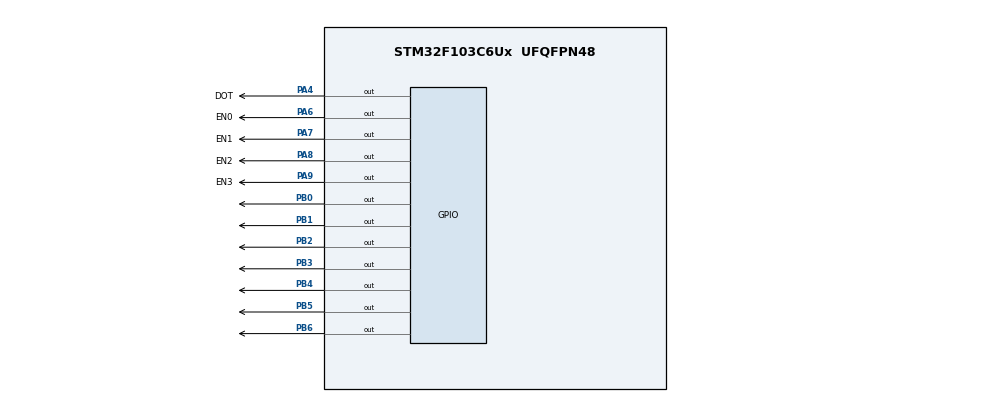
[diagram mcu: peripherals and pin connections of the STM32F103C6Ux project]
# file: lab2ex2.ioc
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Mcu.Family=STM32F1
Mcu.Name=STM32F103C6Ux
Mcu.Package=UFQFPN48
NVIC.PriorityGroup=NVIC_PRIORITYGROUP_4
NVIC.TIM2_IRQn=true\:0\:0\:false\:false\:true\:true\:true
PA4.GPIO_Label=DOT
PA4.Signal=GPIO_Output
PA6.GPIO_Label=EN0
PA6.Signal=GPIO_Output
PA7.GPIO_Label=EN1
PA7.Signal=GPIO_Output
PA8.GPIO_Label=EN2
PA8.Signal=GPIO_Output
PA9.GPIO_Label=EN3
PA9.Signal=GPIO_Output
PB0.Signal=GPIO_Output
PB1.Signal=GPIO_Output
PB2.Signal=GPIO_Output
PB3.Signal=GPIO_Output
PB4.Signal=GPIO_Output
PB5.Signal=GPIO_Output
PB6.Signal=GPIO_Output
ProjectManager.HeapSize=0x200
ProjectManager.StackSize=0x400
ProjectManager.TargetToolchain=STM32CubeIDE
RCC.APB1Freq_Value=8000000
RCC.APB2Freq_Value=8000000
TIM2.Period=9
TIM2.Prescaler=7999
VP_SYS_VS_ND.Mode=No_Debug
VP_TIM2_VS_ClockSourceINT.Mode=Internal
board=custom

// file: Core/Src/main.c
/* USER CODE BEGIN Header */
/**
 ******************************************************************************
 * @file           : main.c
 * @brief          : Main program body
 ******************************************************************************
 * @attention
 *
 * <h2><center>&copy; Copyright (c) 2026 STMicroelectronics.
 * All rights reserved.</center></h2>
 *
 * This software component is licensed by ST under BSD 3-Clause license,
 * the "License"; You may not use this file except in compliance with the
 * License. You may obtain a copy of the License at:
 *                        opensource.org/licenses/BSD-3-Clause
 *
 ******************************************************************************
 */
/* USER CODE END Header */
#include "main.h"

TIM_HandleTypeDef htim2;

void SystemClock_Config(void);
static void MX_GPIO_Init(void);
static void MX_TIM2_Init(void);

/* USER CODE BEGIN 0 */
void display7SEG(int num) {
  GPIO_PinState a = GPIO_PIN_SET;
  GPIO_PinState b = GPIO_PIN_SET;
  GPIO_PinState c = GPIO_PIN_SET;
  GPIO_PinState d = GPIO_PIN_SET;
  GPIO_PinState e = GPIO_PIN_SET;
  GPIO_PinState f = GPIO_PIN_SET;
  GPIO_PinState g = GPIO_PIN_SET;

  switch (num) {
  case 0:
    a = 0;
    b = 0;
    c = 0;
    d = 0;
    e = 0;
    f = 0;
    break;
  case 1:
    b = 0;
    c = 0;
    break;
  case 2:
    a = 0;
    b = 0;
    d = 0;
    e = 0;
    g = 0;
    break;
  case 3:
    a = 0;
    b = 0;
    c = 0;
    d = 0;
    g = 0;
    break;
  case 4:
    b = 0;
    c = 0;
    f = 0;
    g = 0;
    break;
  case 5:
    a = 0;
    c = 0;
    d = 0;
    f = 0;
    g = 0;
    break;
  case 6:
    a = 0;
    c = 0;
    d = 0;
    e = 0;
    f = 0;
    g = 0;
    break;
  case 7:
    a = 0;
    b = 0;
    c = 0;
    break;
  case 8:
    a = 0;
    b = 0;
    c = 0;
    d = 0;
    e = 0;
    f = 0;
    g = 0;
    break;
  case 9:
    a = 0;
    b = 0;
    c = 0;
    d = 0;
    f = 0;
    g = 0;
    break;
  }

  HAL_GPIO_WritePin(GPIOB, GPIO_PIN_0, a);
  HAL_GPIO_WritePin(GPIOB, GPIO_PIN_1, b);
  HAL_GPIO_WritePin(GPIOB, GPIO_PIN_2, c);
  HAL_GPIO_WritePin(GPIOB, GPIO_PIN_3, d);
  HAL_GPIO_WritePin(GPIOB, GPIO_PIN_4, e);
  HAL_GPIO_WritePin(GPIOB, GPIO_PIN_5, f);
  HAL_GPIO_WritePin(GPIOB, GPIO_PIN_6, g);
}
/* USER CODE END 0 */

int main(void) {

  /* MCU Configuration--------------------------------------------------------*/

  /* Reset of all peripherals, Initializes the Flash interface and the Systick.
   */
  HAL_Init();

  /* Configure the system clock */
  SystemClock_Config();

  /* Initialize all configured peripherals */
  MX_GPIO_Init();
  MX_TIM2_Init();
  /* USER CODE BEGIN 2 */
  HAL_TIM_Base_Start_IT(&htim2);
  /* USER CODE END 2 */

  /* Infinite loop */
  while (1) {

  }
}

void SystemClock_Config(void) {
  RCC_OscInitTypeDef RCC_OscInitStruct = {0};
  RCC_ClkInitTypeDef RCC_ClkInitStruct = {0};

  /** Initializes the RCC Oscillators according to the specified parameters
   * in the RCC_OscInitTypeDef structure.
   */
  RCC_OscInitStruct.OscillatorType = RCC_OSCILLATORTYPE_HSI;
  RCC_OscInitStruct.HSIState = RCC_HSI_ON;
  RCC_OscInitStruct.HSICalibrationValue = RCC_HSICALIBRATION_DEFAULT;
  RCC_OscInitStruct.PLL.PLLState = RCC_PLL_NONE;
  if (HAL_RCC_OscConfig(&RCC_OscInitStruct) != HAL_OK) {
    Error_Handler();
  }
  /** Initializes the CPU, AHB and APB buses clocks
   */
  RCC_ClkInitStruct.ClockType = RCC_CLOCKTYPE_HCLK | RCC_CLOCKTYPE_SYSCLK |
                                RCC_CLOCKTYPE_PCLK1 | RCC_CLOCKTYPE_PCLK2;
  RCC_ClkInitStruct.SYSCLKSource = RCC_SYSCLKSOURCE_HSI;
  RCC_ClkInitStruct.AHBCLKDivider = RCC_SYSCLK_DIV1;
  RCC_ClkInitStruct.APB1CLKDivider = RCC_HCLK_DIV1;
  RCC_ClkInitStruct.APB2CLKDivider = RCC_HCLK_DIV1;

  if (HAL_RCC_ClockConfig(&RCC_ClkInitStruct, FLASH_LATENCY_0) != HAL_OK) {
    Error_Handler();
  }
}

static void MX_TIM2_Init(void) {

  TIM_ClockConfigTypeDef sClockSourceConfig = {0};
  TIM_MasterConfigTypeDef sMasterConfig = {0};

  htim2.Instance = TIM2;
  htim2.Init.Prescaler = 7999;
  htim2.Init.CounterMode = TIM_COUNTERMODE_UP;
  htim2.Init.Period = 9;
  htim2.Init.ClockDivision = TIM_CLOCKDIVISION_DIV1;
  htim2.Init.AutoReloadPreload = TIM_AUTORELOAD_PRELOAD_DISABLE;
  if (HAL_TIM_Base_Init(&htim2) != HAL_OK) {
    Error_Handler();
  }
  sClockSourceConfig.ClockSource = TIM_CLOCKSOURCE_INTERNAL;
  if (HAL_TIM_ConfigClockSource(&htim2, &sClockSourceConfig) != HAL_OK) {
    Error_Handler();
  }
  sMasterConfig.MasterOutputTrigger = TIM_TRGO_RESET;
  sMasterConfig.MasterSlaveMode = TIM_MASTERSLAVEMODE_DISABLE;
  if (HAL_TIMEx_MasterConfigSynchronization(&htim2, &sMasterConfig) != HAL_OK) {
    Error_Handler();
  }
}

static void MX_GPIO_Init(void) {
  GPIO_InitTypeDef GPIO_InitStruct = {0};

  /* GPIO Ports Clock Enable */
  __HAL_RCC_GPIOA_CLK_ENABLE();
  __HAL_RCC_GPIOB_CLK_ENABLE();

  /*Configure GPIO pin Output Level */
  HAL_GPIO_WritePin(GPIOA, DOT_Pin | EN0_Pin | EN1_Pin | EN2_Pin | EN3_Pin,
                    GPIO_PIN_RESET);

  /*Configure GPIO pin Output Level */
  HAL_GPIO_WritePin(GPIOB,
                    GPIO_PIN_0 | GPIO_PIN_1 | GPIO_PIN_2 | GPIO_PIN_3 |
                        GPIO_PIN_4 | GPIO_PIN_5 | GPIO_PIN_6,
                    GPIO_PIN_RESET);

  /*Configure GPIO pins : DOT_Pin EN0_Pin EN1_Pin EN2_Pin
                           EN3_Pin */
  GPIO_InitStruct.Pin = DOT_Pin | EN0_Pin | EN1_Pin | EN2_Pin | EN3_Pin;
  GPIO_InitStruct.Mode = GPIO_MODE_OUTPUT_PP;
  GPIO_InitStruct.Pull = GPIO_NOPULL;
  GPIO_InitStruct.Speed = GPIO_SPEED_FREQ_LOW;
  HAL_GPIO_Init(GPIOA, &GPIO_InitStruct);

  /*Configure GPIO pins : PB0 PB1 PB2 PB3
                           PB4 PB5 PB6 */
  GPIO_InitStruct.Pin = GPIO_PIN_0 | GPIO_PIN_1 | GPIO_PIN_2 | GPIO_PIN_3 |
                        GPIO_PIN_4 | GPIO_PIN_5 | GPIO_PIN_6;
  GPIO_InitStruct.Mode = GPIO_MODE_OUTPUT_PP;
  GPIO_InitStruct.Pull = GPIO_NOPULL;
  GPIO_InitStruct.Speed = GPIO_SPEED_FREQ_LOW;
  HAL_GPIO_Init(GPIOB, &GPIO_InitStruct);
}

/* USER CODE BEGIN 4 */
const int MAX_LED = 4;
int led_buffer[4] = {1, 2, 3, 0};
int led_counter = 50;
/*
 * ex4
 * int led_counter = 25;
 */
int dot_counter = 100;
int led_index = 0;
void update7SEG(int index) {
  HAL_GPIO_WritePin(GPIOA, EN0_Pin | EN1_Pin | EN2_Pin | EN3_Pin, GPIO_PIN_SET);

  display7SEG(led_buffer[led_index]);

  switch (index) {
  case 0:
    HAL_GPIO_WritePin(GPIOA, EN0_Pin, GPIO_PIN_RESET);
    break;
  case 1:
    HAL_GPIO_WritePin(GPIOA, EN1_Pin, GPIO_PIN_RESET);
    break;
  case 2:
    HAL_GPIO_WritePin(GPIOA, EN2_Pin, GPIO_PIN_RESET);
    break;
  case 3:
    HAL_GPIO_WritePin(GPIOA, EN3_Pin, GPIO_PIN_RESET);
    break;
  }
}
void HAL_TIM_PeriodElapsedCallback(TIM_HandleTypeDef *htim) {
  dot_counter--;
  if (dot_counter <= 0) {
    dot_counter = 100;
    HAL_GPIO_TogglePin(GPIOA, DOT_Pin);
  }
  led_counter--;
  if (led_counter <= 0) {
    led_counter = 50;
    /*
     * ex4
     * int led_counter = 25;
     */
    HAL_GPIO_WritePin(GPIOA, EN0_Pin | EN1_Pin | EN2_Pin | EN3_Pin,
                      GPIO_PIN_SET);
    // ex2
    // display7SEG(led_buffer[led_index]);
    //     if (led_index == 0) HAL_GPIO_WritePin(GPIOA, EN0_Pin,
    //     GPIO_PIN_RESET); else if (led_index == 1) HAL_GPIO_WritePin(GPIOA,
    //     EN1_Pin, GPIO_PIN_RESET); else if (led_index == 2)
    //     HAL_GPIO_WritePin(GPIOA, EN2_Pin, GPIO_PIN_RESET); else if (led_index
    //     == 3) HAL_GPIO_WritePin(GPIOA, EN3_Pin, GPIO_PIN_RESET);
    update7SEG(led_index);
    led_index++;
    if (led_index == 4)
      led_index = 0;
  }
}
/* USER CODE END 4 */

void Error_Handler(void) {
  __disable_irq();
  while (1) {
  }
}

#ifdef USE_FULL_ASSERT
/**
 * @brief  Reports the name of the source file and the source line number
 *         where the assert_param error has occurred.
 * @param  file: pointer to the source file name
 * @param  line: assert_param error line source number
 * @retval None
 */
void assert_failed(uint8_t *file, uint32_t line) {
  /* USER CODE BEGIN 6 */
  /* User can add his own implementation to report the file name and line
     number, ex: printf("Wrong parameters value: file %s on line %d\r\n", file,
     line) */
  /* USER CODE END 6 */
}
#endif /* USE_FULL_ASSERT */

/************************ (C) COPYRIGHT STMicroelectronics *****END OF FILE****/
